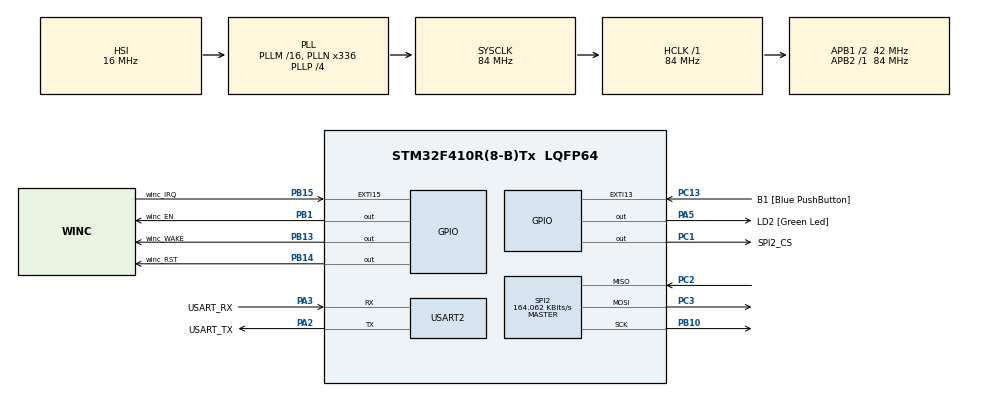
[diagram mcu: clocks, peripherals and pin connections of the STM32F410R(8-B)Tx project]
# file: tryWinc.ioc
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Mcu.Family=STM32F4
Mcu.Name=STM32F410R(8-B)Tx
Mcu.Package=LQFP64
NVIC.PriorityGroup=NVIC_PRIORITYGROUP_0
PA13.GPIO_Label=TMS
PA13.Mode=Serial_Wire
PA13.Signal=SYS_JTMS-SWDIO
PA14.GPIO_Label=TCK
PA14.Mode=Serial_Wire
PA14.Signal=SYS_JTCK-SWCLK
PA2.GPIO_Label=USART_TX
PA2.Mode=Asynchronous
PA2.Signal=USART2_TX
PA3.GPIO_Label=USART_RX
PA3.Mode=Asynchronous
PA3.Signal=USART2_RX
PA5.GPIO_Label=LD2 [Green Led]
PA5.Signal=GPIO_Output
PB1.GPIO_Label=winc_EN
PB1.Signal=GPIO_Output
PB10.Mode=Full_Duplex_Master
PB10.Signal=SPI2_SCK
PB13.GPIO_Label=winc_WAKE
PB13.Signal=GPIO_Output
PB14.GPIO_Label=winc_RST
PB14.Signal=GPIO_Output
PB15.GPIO_Label=winc_IRQ
PB15.GPIO_ModeDefaultEXTI=GPIO_MODE_IT_FALLING
PB15.GPIO_PuPd=GPIO_PULLUP
PB15.Signal=GPXTI15
PB3.GPIO_Label=SWO
PB3.Signal=SYS_JTDO-SWO
PC1.GPIO_Label=SPI2_CS
PC1.Signal=GPIO_Output
PC13-ANTI_TAMP.GPIO_Label=B1 [Blue PushButton]
PC13-ANTI_TAMP.GPIO_ModeDefaultEXTI=GPIO_MODE_IT_FALLING
PC13-ANTI_TAMP.Signal=GPXTI13
PC14-OSC32_IN.Mode=LSE-External-Oscillator
PC14-OSC32_IN.Signal=RCC_OSC32_IN
PC15-OSC32_OUT.Mode=LSE-External-Oscillator
PC15-OSC32_OUT.Signal=RCC_OSC32_OUT
PC2.Mode=Full_Duplex_Master
PC2.Signal=SPI2_MISO
PC3.Mode=Full_Duplex_Master
PC3.Signal=SPI2_MOSI
PH0\ -\ OSC_IN.Mode=HSE-External-Clock-Source
PH0\ -\ OSC_IN.Signal=RCC_OSC_IN
PH1\ -\ OSC_OUT.Mode=HSE-External-Clock-Source
PH1\ -\ OSC_OUT.Signal=RCC_OSC_OUT
ProjectManager.HeapSize=0x200
ProjectManager.StackSize=0x400
ProjectManager.TargetToolchain=MDK-ARM V5.27
RCC.48MHZClocksFreq_Value=84000000
RCC.AHBFreq_Value=84000000
RCC.APB1CLKDivider=RCC_HCLK_DIV2
RCC.APB1Freq_Value=42000000
RCC.APB1TimFreq_Value=84000000
RCC.APB2Freq_Value=84000000
RCC.APB2TimFreq_Value=84000000
RCC.CortexFreq_Value=84000000
RCC.FLatency-AdvancedSettings=FLASH_LATENCY_2
RCC.HCLKFreq_Value=84000000
RCC.HSE_VALUE=8000000
RCC.HSI_VALUE=16000000
RCC.PLLN=336
RCC.PLLP=RCC_PLLP_DIV4
RCC.SYSCLKFreq_VALUE=84000000
RCC.SYSCLKSource=RCC_SYSCLKSOURCE_PLLCLK
RCC.VCOOutputFreq_Value=336000000
SPI2.BaudRatePrescaler=SPI_BAUDRATEPRESCALER_256
SPI2.CalculateBaudRate=164.062 KBits/s
SPI2.Direction=SPI_DIRECTION_2LINES
SPI2.Mode=SPI_MODE_MASTER
SPI2.VirtualType=VM_MASTER
USART2.VirtualMode=VM_ASYNC
board=NUCLEO-F410RB

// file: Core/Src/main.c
/* USER CODE BEGIN Header */
/**
  ******************************************************************************
  * @file           : main.c
  * @brief          : Main program body
  ******************************************************************************
  * @attention
  *
  * <h2><center>&copy; Copyright (c) 2020 STMicroelectronics.
  * All rights reserved.</center></h2>
  *
  * This software component is licensed by ST under BSD 3-Clause license,
  * the "License"; You may not use this file except in compliance with the
  * License. You may obtain a copy of the License at:
  *                        opensource.org/licenses/BSD-3-Clause
  *
  ******************************************************************************
  */
/* USER CODE END Header */
#include "main.h"

/* USER CODE BEGIN Includes */
#include <stdio.h>

#include "stm32f4xx_hal.h"
#include "conf_winc.h"
#include <string.h>

#include "m2m_wifi.h"
#include "nmasic.h"
#include "m2m_wifi.h"
#include "nmasic.h"
#include "m2m_hif.h"
/* USER CODE END Includes */

/* USER CODE BEGIN PD */
#define STRING_EOL    "\r\n"
#define STRING_HEADER "-- WINC1500 chip information example --"STRING_EOL \
	"-- "BOARD_NAME " --"STRING_EOL	\
	"-- Compiled: "__DATE__ " "__TIME__ " --"STRING_EOL

static uint8_t scan_request_index = 0;
/** Number of APs found. */
static uint8_t num_founded_ap = 0;
#define MAIN_WLAN_SSID        "DIAS" /* < Destination SSID */
#define MAIN_WLAN_AUTH        M2M_WIFI_SEC_WPA_PSK /* < Security manner */
#define MAIN_WLAN_PSK         "diaspass" /* < Password for Destination SSID */

/* USER CODE END PD */

//SPI_HandleTypeDef hspi2;

UART_HandleTypeDef huart2;

void SystemClock_Config(void);
static void MX_GPIO_Init(void);
static void MX_SPI2_Init(void);
static void MX_USART2_UART_Init(void);

/* USER CODE BEGIN 0 */

int fputc(int c, FILE *stream)
{
	return(ITM_SendChar(c));
}

static void wifi_cb(uint8_t u8MsgType, void *pvMsg)
{
	switch (u8MsgType) {
	case M2M_WIFI_RESP_SCAN_DONE:
	{
		tstrM2mScanDone *pstrInfo = (tstrM2mScanDone *)pvMsg;
		scan_request_index = 0;
		if (pstrInfo->u8NumofCh >= 1) {
			m2m_wifi_req_scan_result(scan_request_index);
			scan_request_index++;
		} else {
			m2m_wifi_request_scan(M2M_WIFI_CH_ALL);
		}

		break;
	}

	case M2M_WIFI_RESP_SCAN_RESULT:
	{
		tstrM2mWifiscanResult *pstrScanResult = (tstrM2mWifiscanResult *)pvMsg;
		uint16_t demo_ssid_len;
		uint16_t scan_ssid_len = strlen((const char *)pstrScanResult->au8SSID);

		/* display founded AP. */
		printf("[%d] SSID:%s\r\n", scan_request_index, pstrScanResult->au8SSID);

		num_founded_ap = m2m_wifi_get_num_ap_found();
		if (scan_ssid_len) {
			/* check same SSID. */
			demo_ssid_len = strlen((const char *)MAIN_WLAN_SSID);
			if
			(
				(demo_ssid_len == scan_ssid_len) &&
				(!memcmp(pstrScanResult->au8SSID, (uint8_t *)MAIN_WLAN_SSID, demo_ssid_len))
			) {
				/* A scan result matches an entry in the preferred AP List.
				 * Initiate a connection request.
				 */
				printf("Found %s \r\n", MAIN_WLAN_SSID);
				m2m_wifi_connect((char *)MAIN_WLAN_SSID,
						sizeof(MAIN_WLAN_SSID),
						MAIN_WLAN_AUTH,
						(void *)MAIN_WLAN_PSK,
						M2M_WIFI_CH_ALL);
				break;
			}
		}

		if (scan_request_index < num_founded_ap) {
			m2m_wifi_req_scan_result(scan_request_index);
			scan_request_index++;
		} else {
			printf("can not find AP %s\r\n", MAIN_WLAN_SSID);
			m2m_wifi_request_scan(M2M_WIFI_CH_ALL);
		}

		break;
	}

	case M2M_WIFI_RESP_CON_STATE_CHANGED:
	{
		tstrM2mWifiStateChanged *pstrWifiState = (tstrM2mWifiStateChanged *)pvMsg;
		if (pstrWifiState->u8CurrState == M2M_WIFI_CONNECTED) {
			m2m_wifi_request_dhcp_client();
		} else if (pstrWifiState->u8CurrState == M2M_WIFI_DISCONNECTED) {
			printf("Wi-Fi disconnected\r\n");

			/* Request scan. */
			m2m_wifi_request_scan(M2M_WIFI_CH_ALL);
		}

		break;
	}

	case M2M_WIFI_REQ_DHCP_CONF:
	{
		uint8_t *pu8IPAddress = (uint8_t *)pvMsg;
		printf("Wi-Fi connected\r\n");
		printf("Wi-Fi IP is %u.%u.%u.%u\r\n",
				pu8IPAddress[0], pu8IPAddress[1], pu8IPAddress[2], pu8IPAddress[3]);
		break;
	}

	default:
	{
		break;
	}
	}
}

void HAL_GPIO_EXTI_Callback(uint16_t GPIO_Pin)
{
	if(GPIO_Pin==GPIO_PIN_15)
	{
		isr();
	}
}
/* USER CODE END 0 */

int main(void)
{

  /* MCU Configuration--------------------------------------------------------*/

  /* Reset of all peripherals, Initializes the Flash interface and the Systick. */
  HAL_Init();

  /* Configure the system clock */
  SystemClock_Config();

  /* Initialize all configured peripherals */
  MX_GPIO_Init();
	HAL_GPIO_WritePin(GPIOB,GPIO_PIN_15,GPIO_PIN_SET);
  MX_SPI2_Init();
  MX_USART2_UART_Init();
  /* USER CODE BEGIN 2 */
	tstrWifiInitParam param;
	int8_t ret;
	printf("Bismillah\n");

	/* Initialize the BSP. */
	nm_bsp_init();

	/* Initialize Wi-Fi parameters structure. */
	/* Initialize Wi-Fi parameters structure. */
	memset((uint8_t *)&param, 0, sizeof(tstrWifiInitParam));

	/* Initialize Wi-Fi driver with data and status callbacks. */
	param.pfAppWifiCb = wifi_cb;
	ret = m2m_wifi_init(&param);
	if (M2M_SUCCESS != ret) {
		printf("main: m2m_wifi_init call error!(%d)\r\n", ret);
		while (1) {
		}
	}

	/* Request scan. */
	m2m_wifi_request_scan(M2M_WIFI_CH_ALL);

  /* USER CODE END 2 */

  /* Infinite loop */
  while (1)
  {
		/* Handle pending events from network controller. */
		while (m2m_wifi_handle_events(NULL) != M2M_SUCCESS) {
		}

  }
}

void SystemClock_Config(void)
{
  RCC_OscInitTypeDef RCC_OscInitStruct = {0};
  RCC_ClkInitTypeDef RCC_ClkInitStruct = {0};

  /** Configure the main internal regulator output voltage
  */
  __HAL_RCC_PWR_CLK_ENABLE();
  __HAL_PWR_VOLTAGESCALING_CONFIG(PWR_REGULATOR_VOLTAGE_SCALE1);
  /** Initializes the RCC Oscillators according to the specified parameters
  * in the RCC_OscInitTypeDef structure.
  */
  RCC_OscInitStruct.OscillatorType = RCC_OSCILLATORTYPE_HSI;
  RCC_OscInitStruct.HSIState = RCC_HSI_ON;
  RCC_OscInitStruct.HSICalibrationValue = RCC_HSICALIBRATION_DEFAULT;
  RCC_OscInitStruct.PLL.PLLState = RCC_PLL_ON;
  RCC_OscInitStruct.PLL.PLLSource = RCC_PLLSOURCE_HSI;
  RCC_OscInitStruct.PLL.PLLM = 16;
  RCC_OscInitStruct.PLL.PLLN = 336;
  RCC_OscInitStruct.PLL.PLLP = RCC_PLLP_DIV4;
  RCC_OscInitStruct.PLL.PLLQ = 4;
  RCC_OscInitStruct.PLL.PLLR = 2;
  if (HAL_RCC_OscConfig(&RCC_OscInitStruct) != HAL_OK)
  {
    Error_Handler();
  }
  /** Initializes the CPU, AHB and APB buses clocks
  */
  RCC_ClkInitStruct.ClockType = RCC_CLOCKTYPE_HCLK|RCC_CLOCKTYPE_SYSCLK
                              |RCC_CLOCKTYPE_PCLK1|RCC_CLOCKTYPE_PCLK2;
  RCC_ClkInitStruct.SYSCLKSource = RCC_SYSCLKSOURCE_PLLCLK;
  RCC_ClkInitStruct.AHBCLKDivider = RCC_SYSCLK_DIV1;
  RCC_ClkInitStruct.APB1CLKDivider = RCC_HCLK_DIV2;
  RCC_ClkInitStruct.APB2CLKDivider = RCC_HCLK_DIV1;

  if (HAL_RCC_ClockConfig(&RCC_ClkInitStruct, FLASH_LATENCY_2) != HAL_OK)
  {
    Error_Handler();
  }
}

static void MX_SPI2_Init(void)
{

  /* SPI2 parameter configuration*/
  hspi2.Instance = SPI2;
  hspi2.Init.Mode = SPI_MODE_MASTER;
  hspi2.Init.Direction = SPI_DIRECTION_2LINES;
  hspi2.Init.DataSize = SPI_DATASIZE_8BIT;
  hspi2.Init.CLKPolarity = SPI_POLARITY_LOW;
  hspi2.Init.CLKPhase = SPI_PHASE_1EDGE;
  hspi2.Init.NSS = SPI_NSS_SOFT;
  hspi2.Init.BaudRatePrescaler = SPI_BAUDRATEPRESCALER_32;
  hspi2.Init.FirstBit = SPI_FIRSTBIT_MSB;
  hspi2.Init.TIMode = SPI_TIMODE_DISABLE;
  hspi2.Init.CRCCalculation = SPI_CRCCALCULATION_DISABLE;
  hspi2.Init.CRCPolynomial = 15;
  if (HAL_SPI_Init(&hspi2) != HAL_OK)
  {
    Error_Handler();
  }

}

static void MX_USART2_UART_Init(void)
{

  huart2.Instance = USART2;
  huart2.Init.BaudRate = 115200;
  huart2.Init.WordLength = UART_WORDLENGTH_8B;
  huart2.Init.StopBits = UART_STOPBITS_1;
  huart2.Init.Parity = UART_PARITY_NONE;
  huart2.Init.Mode = UART_MODE_TX_RX;
  huart2.Init.HwFlowCtl = UART_HWCONTROL_NONE;
  huart2.Init.OverSampling = UART_OVERSAMPLING_16;
  if (HAL_UART_Init(&huart2) != HAL_OK)
  {
    Error_Handler();
  }

}

static void MX_GPIO_Init(void)
{
  GPIO_InitTypeDef GPIO_InitStruct = {0};

  /* GPIO Ports Clock Enable */
  __HAL_RCC_GPIOC_CLK_ENABLE();
  __HAL_RCC_GPIOH_CLK_ENABLE();
  __HAL_RCC_GPIOA_CLK_ENABLE();
  __HAL_RCC_GPIOB_CLK_ENABLE();

  /*Configure GPIO pin Output Level */
  HAL_GPIO_WritePin(SPI2_CS_GPIO_Port, SPI2_CS_Pin, GPIO_PIN_RESET);

  /*Configure GPIO pin Output Level */
  HAL_GPIO_WritePin(LD2_GPIO_Port, LD2_Pin, GPIO_PIN_RESET);

  /*Configure GPIO pin Output Level */
  HAL_GPIO_WritePin(GPIOB, winc_EN_Pin|winc_WAKE_Pin|winc_RST_Pin, GPIO_PIN_RESET);

  /*Configure GPIO pin : B1_Pin */
  GPIO_InitStruct.Pin = B1_Pin;
  GPIO_InitStruct.Mode = GPIO_MODE_IT_FALLING;
  GPIO_InitStruct.Pull = GPIO_NOPULL;
  HAL_GPIO_Init(B1_GPIO_Port, &GPIO_InitStruct);

  /*Configure GPIO pin : SPI2_CS_Pin */
  GPIO_InitStruct.Pin = SPI2_CS_Pin;
  GPIO_InitStruct.Mode = GPIO_MODE_OUTPUT_PP;
  GPIO_InitStruct.Pull = GPIO_NOPULL;
  GPIO_InitStruct.Speed = GPIO_SPEED_FREQ_LOW;
  HAL_GPIO_Init(SPI2_CS_GPIO_Port, &GPIO_InitStruct);

  /*Configure GPIO pin : LD2_Pin */
  GPIO_InitStruct.Pin = LD2_Pin;
  GPIO_InitStruct.Mode = GPIO_MODE_OUTPUT_PP;
  GPIO_InitStruct.Pull = GPIO_NOPULL;
  GPIO_InitStruct.Speed = GPIO_SPEED_FREQ_LOW;
  HAL_GPIO_Init(LD2_GPIO_Port, &GPIO_InitStruct);

  /*Configure GPIO pins : winc_EN_Pin winc_WAKE_Pin winc_RST_Pin */
  GPIO_InitStruct.Pin = winc_EN_Pin|winc_WAKE_Pin|winc_RST_Pin;
  GPIO_InitStruct.Mode = GPIO_MODE_OUTPUT_PP;
  GPIO_InitStruct.Pull = GPIO_NOPULL;
  GPIO_InitStruct.Speed = GPIO_SPEED_FREQ_LOW;
  HAL_GPIO_Init(GPIOB, &GPIO_InitStruct);

  /*Configure GPIO pin : winc_IRQ_Pin */
  GPIO_InitStruct.Pin = winc_IRQ_Pin;
  GPIO_InitStruct.Mode = GPIO_MODE_IT_FALLING;
  GPIO_InitStruct.Pull = GPIO_PULLUP;
  HAL_GPIO_Init(winc_IRQ_GPIO_Port, &GPIO_InitStruct);

}

void Error_Handler(void)
{
}

/************************ (C) COPYRIGHT STMicroelectronics *****END OF FILE****/
